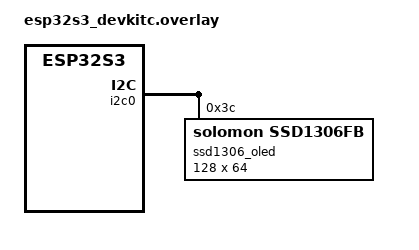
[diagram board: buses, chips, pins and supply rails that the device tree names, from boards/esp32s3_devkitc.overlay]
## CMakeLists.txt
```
cmake_minimum_required(VERSION 3.20.0)

find_package(Zephyr REQUIRED HINTS $ENV{ZEPHYR_BASE})
project(oled_ssd1306 LANGUAGES C)

target_sources(app PRIVATE src/main.c)
```

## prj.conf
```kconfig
# Console + logging
CONFIG_ESPTOOLPY_FLASHSIZE_16MB=y
CONFIG_CONSOLE=y
CONFIG_UART_CONSOLE=y
CONFIG_LOG=y
CONFIG_LOG_DEFAULT_LEVEL=3

# Use minimal C library to avoid picolibc/newlib complications
CONFIG_MINIMAL_LIBC=y
CONFIG_PICOLIBC=n
CONFIG_NEWLIB_LIBC=n

# Display stack for SSD1306
CONFIG_DISPLAY=y
CONFIG_DISPLAY_LOG_LEVEL_INF=y
CONFIG_I2C=y
CONFIG_SSD1306=y
CONFIG_CHARACTER_FRAMEBUFFER=y
CONFIG_CFB_LOG_LEVEL_INF=y

# Stack room for display operations
CONFIG_MAIN_STACK_SIZE=4096
```

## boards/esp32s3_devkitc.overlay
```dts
/*
 * Route the Zephyr display chosen node to the SSD1306 on I2C0.
 * This SSD1306 assumes the common 0x3C address for 128x64 panels.
 * I2C0 pins on ESP32-S3 DevKitC: SDA=GPIO1, SCL=GPIO2 (default pinctrl).
 */
/ {
    chosen {
        zephyr,display = &ssd1306_oled;
    };
};

&i2c0 {
    status = "okay";

    ssd1306_oled: ssd1306@3c {
        compatible = "solomon,ssd1306fb";
        reg = <0x3c>;
        width = <128>;
        height = <64>;
        segment-offset = <0>;
        page-offset = <0>;
        display-offset = <0>;
        multiplex-ratio = <63>;
        segment-remap;
        com-invdir;
        prechargep = <0x22>;
    };
};
```

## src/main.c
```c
#include <zephyr/kernel.h>
#include <zephyr/device.h>
#include <zephyr/drivers/display.h>
#include <zephyr/display/cfb.h>
#include <zephyr/logging/log.h>

LOG_MODULE_REGISTER(oled_demo, LOG_LEVEL_INF);

/* Fetch the display chosen in the overlay (zephyr,display = &ssd1306_oled). */
static const struct device *const display = DEVICE_DT_GET(DT_CHOSEN(zephyr_display));

static void draw_banner(void)
{
    /* Initialize the character frame buffer helper. */
    if (cfb_framebuffer_init(display) < 0)
    {
        LOG_ERR("CFB init failed");
        return;
    }

    /* Optional: pick the first available font. */
    cfb_framebuffer_set_font(display, 0);

    cfb_framebuffer_clear(display, true);

    /* Text lines (aligned to 16-row color bands). */
    cfb_print(display, "Zephyr +", 2, 0);
    cfb_print(display, "SSD1306", 2, 16);
    cfb_print(display, "128x64", 2, 32);

    /* Simple box + crosshair graphic. */
    const struct cfb_position box_start = {90, 18};
    const struct cfb_position box_end = {125, 38}; /* 36x20 box area */
    const struct cfb_position h_start = {90, 28};
    const struct cfb_position h_end = {125, 28};
    const struct cfb_position v_start = {108, 18};
    const struct cfb_position v_end = {108, 38};

    cfb_draw_rect(display, &box_start, &box_end);
    cfb_draw_line(display, &h_start, &h_end);
    cfb_draw_line(display, &v_start, &v_end);

    /* Finalize the buffer and push to the panel. */
    cfb_framebuffer_finalize(display);
}

int main(void)
{
    if (!device_is_ready(display))
    {
        LOG_ERR("Display device not ready");
        return 0;
    }

    /* Ensure the panel is unblanked before drawing. */
    if (display_blanking_off(display) < 0)
    {
        LOG_ERR("Failed to unblank display");
        return 0;
    }

    draw_banner();
    LOG_INF("OLED demo ready; text + graphics drawn.");

    while (1)
    {
        k_sleep(K_SECONDS(1));
    }

    return 0;
}
```
